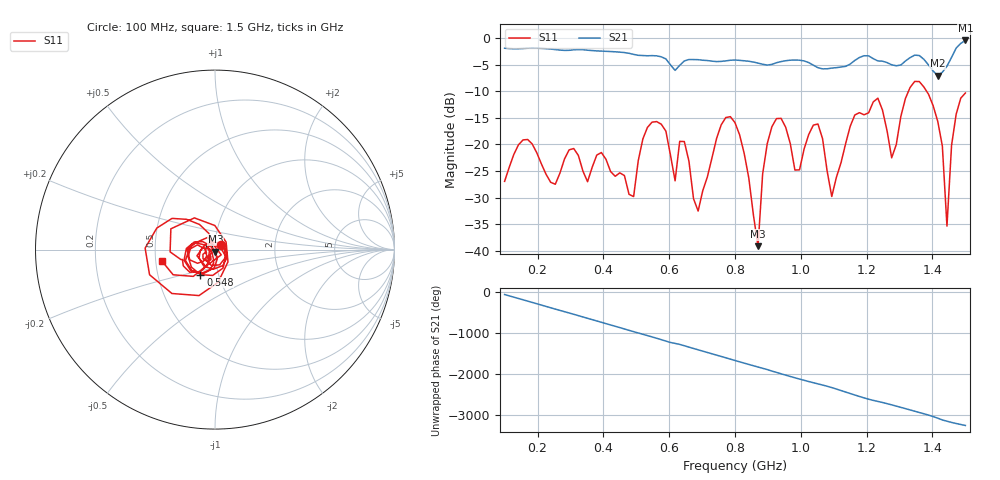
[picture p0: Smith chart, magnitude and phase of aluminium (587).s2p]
! NanoVNA-App
! Date: 2025-09-25 14:59:51
! Start: 100MHz Stop: 1,5GHz Points: 101
! S-Parameter data: F S11 S21 S12 S22
# Hz S RI R 50
!  Frequency  S11_Real  S11_Imag  S21_Real  S21_Imag  S12_Real  S12_Imag  S22_Real  S22_Imag
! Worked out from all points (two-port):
!   101 points, 100 MHz to 1.5 GHz, reference 50 ohm
!   highest |S21| = -0.46 dB at 1.5 GHz (marker M1); lowest = -7.1 dB at 1.416 GHz (marker M2)
!   |S21| within 3 dB of the highest: start of sweep to 570.1 MHz; 1.459 GHz to end of sweep (the widest 2 of 4)
!   lowest |S11| = -39.2 dB at 870 MHz (marker M3), VSWR 1.02, Z = 50.2 - j1.08 ohm
!   |S11| at or under -10 dB: start of sweep to 1.327 GHz; 1.382 GHz to end of sweep
!   S12 and S22 are empty: the file has one direction only
!   S11 on the Smith chart (normalised r, x): 100 MHz: 1.07, +0.06; 548 MHz: 0.82, -0.24; 1.5 GHz: 0.54, -0.07
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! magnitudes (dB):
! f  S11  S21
! 100 MHz  -27.0  -1.9
! 156 MHz  -19.2  -2.0
! 338 MHz  -25.0  -2.2
! 492 MHz  -29.8  -3.1
! 548 MHz  -15.8  -3.3
! 576 MHz  -16.2  -3.5
! 618 MHz  -26.9  -6.1
! 646 MHz  -19.5  -4.3
! 688 MHz  -32.5  -4.1
! 800 MHz  -15.9  -4.1
! 870 MHz  -39.2  -4.7
! 912 MHz  -16.7  -5.0
! 982 MHz  -24.8  -4.1
! 1.038 GHz  -16.4  -5.1
! 1.094 GHz  -29.8  -5.7
! 1.234 GHz  -11.3  -4.3
! 1.276 GHz  -22.5  -5.0
! 1.346 GHz  -8.2  -3.2
! 1.416 GHz  -15.7  -7.1
! 1.444 GHz  -35.4  -5.3
! 1.458 GHz  -20.2  -3.6
! 1.5 GHz  -10.3  -0.5
